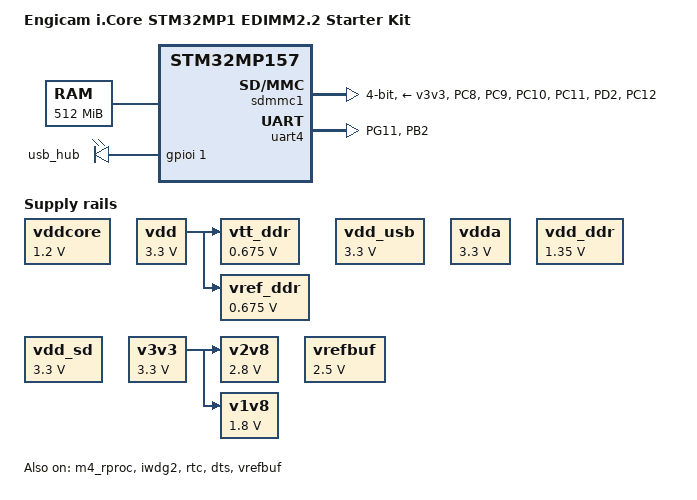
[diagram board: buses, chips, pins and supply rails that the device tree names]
/* SPDX-License-Identifier: (GPL-2.0+ OR BSD-3-Clause) */
/*
 * Copyright (C) STMicroelectronics 2019 - All Rights Reserved
 * Author: STM32CubeMX code generation for STMicroelectronics.
 */

/dts-v1/;
#include "stm32mp157.dtsi"
#include "stm32mp15-pinctrl.dtsi"
#include "stm32mp15xxaa-pinctrl.dtsi"
#include <dt-bindings/gpio/gpio.h>

/ {
	model = "Engicam i.Core STM32MP1 EDIMM2.2 Starter Kit";
	compatible = "st,stm32mp157a-icorestm32-mx", "st,stm32mp157";

    memory@c0000000 {
        reg = <0xC0000000 0x20000000>;

    };

	reserved-memory {
		#address-cells = <1>;
		#size-cells = <1>;
		ranges;

		mcuram2: mcuram2@10000000 {
			compatible = "shared-dma-pool";
			reg = <0x10000000 0x40000>;
			no-map;
		};

		vdev0vring0: vdev0vring0@10040000 {
			compatible = "shared-dma-pool";
			reg = <0x10040000 0x1000>;
			no-map;
		};

		vdev0vring1: vdev0vring1@10041000 {
			compatible = "shared-dma-pool";
			reg = <0x10041000 0x1000>;
			no-map;
		};

		vdev0buffer: vdev0buffer@10042000 {
			compatible = "shared-dma-pool";
			reg = <0x10042000 0x4000>;
			no-map;
		};

		mcuram: mcuram@30000000 {
			compatible = "shared-dma-pool";
			reg = <0x30000000 0x40000>;
			no-map;
		};

		retram: retram@38000000 {
			compatible = "shared-dma-pool";
			reg = <0x38000000 0x10000>;
			no-map;
		};
	};

	vddcore: regulator-vddcore {
		compatible = "regulator-fixed";
		regulator-name = "vddcore";
		regulator-min-microvolt = <1200000>;
		regulator-max-microvolt = <1200000>;
		regulator-always-on;
	};

	vdd: regulator-vdd {
		compatible = "regulator-fixed";
		regulator-name = "vdd";
		regulator-min-microvolt = <3300000>;
		regulator-max-microvolt = <3300000>;
		regulator-always-on;
	};

	vdd_usb: regulator-vdd_usb {
		compatible = "regulator-fixed";
		regulator-name = "vdd_usb";
		regulator-min-microvolt = <3300000>;
		regulator-max-microvolt = <3300000>;
		regulator-always-on;
	};

	vdda: regulator-vdda {
		compatible = "regulator-fixed";
		regulator-name = "vdda";
		regulator-min-microvolt = <3300000>;
		regulator-max-microvolt = <3300000>;
		regulator-always-on;
	};

	vdd_ddr: regulator-vdd_ddr {
		compatible = "regulator-fixed";
		regulator-name = "vdd_ddr";
		regulator-min-microvolt = <1350000>;
		regulator-max-microvolt = <1350000>;
		regulator-always-on;
	};

	vtt_ddr: regulator-vtt_ddr {
		compatible = "regulator-fixed";
		regulator-name = "vtt_ddr";
		regulator-min-microvolt = <675000>;
		regulator-max-microvolt = <675000>;
		regulator-always-on;
		vin-supply = <&vdd>;
	};

	vref_ddr: regulator-vref_ddr {
		compatible = "regulator-fixed";
		regulator-name = "vref_ddr";
		regulator-min-microvolt = <675000>;
		regulator-max-microvolt = <675000>;
		regulator-always-on;
		vin-supply = <&vdd>;
	};

	vdd_sd: regulator-vdd_sd {
		compatible = "regulator-fixed";
		regulator-name = "vdd_sd";
		regulator-min-microvolt = <3300000>;
		regulator-max-microvolt = <3300000>;
		regulator-always-on;
	};

	v3v3: regulator-v3v3 {
		compatible = "regulator-fixed";
		regulator-name = "v3v3";
		regulator-min-microvolt = <3300000>;
		regulator-max-microvolt = <3300000>;
		regulator-always-on;
	};

	v2v8: regulator-v2v8 {
		compatible = "regulator-fixed";
		regulator-name = "v2v8";
		regulator-min-microvolt = <2800000>;
		regulator-max-microvolt = <2800000>;
		regulator-always-on;
		vin-supply = <&v3v3>;
	};

	v1v8: regulator-v1v8 {
		compatible = "regulator-fixed";
		regulator-name = "v1v8";
		regulator-min-microvolt = <1800000>;
		regulator-max-microvolt = <1800000>;
		regulator-always-on;
		vin-supply = <&v3v3>;
	};

	sram: sram@10050000 {
		compatible = "mmio-sram";
		reg = <0x10050000 0x10000>;
		#address-cells = <1>;
		#size-cells = <1>;
		ranges = <0 0x10050000 0x10000>;

		dma_pool: dma_pool@0 {
			reg = <0x0 0x10000>;
			pool;
		};
	};
	
    aliases {
		serial0 = &uart4; /*LINUX CONSOLE*/
	};

	led {
		compatible = "gpio-leds";
		blue {
			label = "usb_hub";
			gpios = <&gpioi 1 GPIO_ACTIVE_HIGH>;
			default-state = "on";
		};
	};
}; 


/*root*/

&pinctrl {
    sdmmc1_pins_mx: sdmmc1_mx-0 {
        pins1 {
            pinmux = <STM32_PINMUX('C', 8, AF12)>, /* SDMMC1_D0 */
                     <STM32_PINMUX('C', 9, AF12)>, /* SDMMC1_D1 */
                     <STM32_PINMUX('C', 10, AF12)>, /* SDMMC1_D2 */
                     <STM32_PINMUX('C', 11, AF12)>, /* SDMMC1_D3 */
                     <STM32_PINMUX('D', 2, AF12)>; /* SDMMC1_CMD */
            bias-disable;
            drive-push-pull;
            slew-rate = <1>;
        };
        pins2 {
            pinmux = <STM32_PINMUX('C', 12, AF12)>; /* SDMMC1_CK */
            bias-disable;
            drive-push-pull;
            slew-rate = <3>;
        };
    };
    uart4_pins_mx: uart4_mx-0 {
        pins1 {
            pinmux = <STM32_PINMUX('G', 11, AF6)>; /* UART4_TX */
            bias-disable;
            drive-push-pull;
            slew-rate = <0>;
        };
        pins2 {
            pinmux = <STM32_PINMUX('B', 2, AF8)>; /* UART4_RX */
            bias-disable;
        };
    };
    sdmmc1_sleep_pins_mx: sdmmc1_sleep_mx-0 {
        pins {
            pinmux = <STM32_PINMUX('C', 8, ANALOG)>, /* SDMMC1_D0 */
                     <STM32_PINMUX('C', 9, ANALOG)>, /* SDMMC1_D1 */
                     <STM32_PINMUX('C', 10, ANALOG)>, /* SDMMC1_D2 */
                     <STM32_PINMUX('C', 11, ANALOG)>, /* SDMMC1_D3 */
                     <STM32_PINMUX('C', 12, ANALOG)>, /* SDMMC1_CK */
                     <STM32_PINMUX('D', 2, ANALOG)>; /* SDMMC1_CMD */
        };
    };
    uart4_sleep_pins_mx: uart4_sleep_mx-0 {
        pins {
            pinmux = <STM32_PINMUX('B', 2, ANALOG)>, /* UART4_RX */
                     <STM32_PINMUX('G', 11, ANALOG)>; /* UART4_TX */
        };
    };
};

&m4_rproc{
 memory-region = <&retram>, <&mcuram>, <&mcuram2>, <&vdev0vring0>,
			<&vdev0vring1>, <&vdev0buffer>;
	mboxes = <&ipcc 0>, <&ipcc 1>, <&ipcc 2>;
	mbox-names = "vq0", "vq1", "shutdown";
	interrupt-parent = <&exti>;
	interrupts = <68 1>;
	status = "okay";
};

&iwdg2{
    status = "okay";

    /* USER CODE BEGIN iwdg2 */
    /* USER CODE END iwdg2 */
};

&rtc{
    status = "okay";
};

&sdmmc1{
    pinctrl-names = "default", "sleep";
    pinctrl-0 = <&sdmmc1_pins_mx>;
    pinctrl-1 = <&sdmmc1_sleep_pins_mx>;
    status = "okay";

    /* USER CODE BEGIN sdmmc1 */
    broken-cd;
	st,neg-edge;
	bus-width = <4>;
	max-frequency = <10000000>;
	vmmc-supply = <&v3v3>;
    /* USER CODE END sdmmc1 */
};

&uart4{
    pinctrl-names = "default", "sleep";
    pinctrl-0 = <&uart4_pins_mx>;
    pinctrl-1 = <&uart4_sleep_pins_mx>;
    status = "okay";
};

&dts {
	status = "okay";
};

&vrefbuf {
	regulator-min-microvolt = <2500000>;
	regulator-max-microvolt = <2500000>;
	vdda-supply = <&vdd>;
	status = "okay";
};
